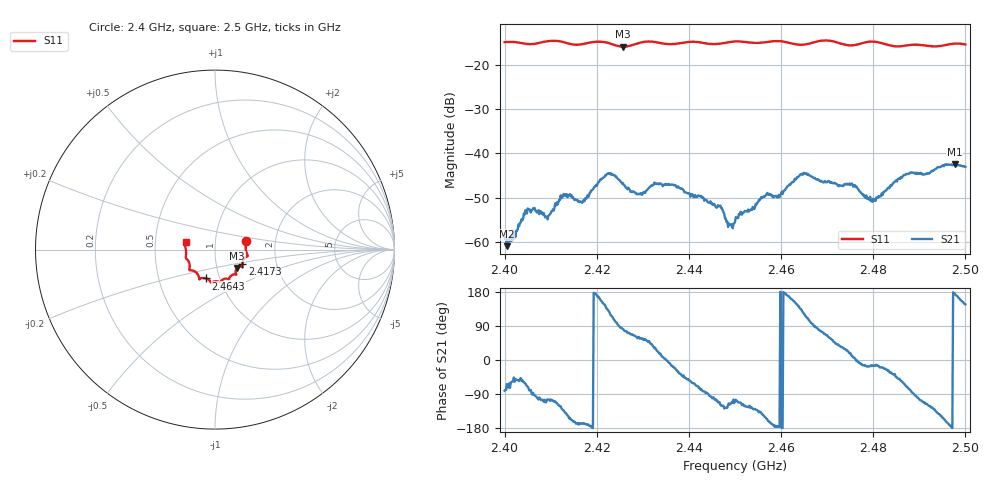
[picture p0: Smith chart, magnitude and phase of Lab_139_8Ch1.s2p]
# Hz S RI R 50
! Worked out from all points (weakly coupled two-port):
!   601 points, 2.4 GHz to 2.5 GHz, reference 50 ohm
!   highest |S21| = -42.43 dB at 2.4977 GHz (marker M1); lowest = -61.0 dB at 2.4005 GHz (marker M2)
!   lowest |S11| = -15.9 dB at 2.4257 GHz (marker M3), VSWR 1.38, Z = 62.5 - j13.1 ohm
!   |S11| at or under -10 dB: start of sweep to end of sweep
!   S12 and S22 are empty: the file has one direction only
!   S11 on the Smith chart (normalised r, x): 2.4 GHz: 1.41, +0.14; 2.4173 GHz: 1.34, -0.23; 2.4643 GHz: 0.86, -0.28; 2.5 GHz: 0.72, +0.06
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2.4e9  0.1732 0.049  0.000174 -0.00111  0 0  0 0
2.4005e9  0.1749 0.0468  0.0004 -0.000802  0 0  0 0
2.405e9  0.1709 0.0139  0.000801 -0.00224  0 0  0 0
2.409167e9  0.1818 -0.0303  -0.00051 -0.00186  0 0  0 0
2.412667e9  0.1764 -0.0396  -0.00224 -0.00248  0 0  0 0
2.416667e9  0.1529 -0.0745  -0.00275 -0.000649  0 0  0 0
2.417333e9  0.1519 -0.082  -0.00282 -0.000565  0 0  0 0
2.4225e9  0.1489 -0.0944  -0.00387 0.00456  0 0  0 0
2.425667e9  0.1229 -0.1022  0.000661 0.00459  0 0  0 0
2.429333e9  0.1162 -0.1336  0.00194 0.00293  0 0  0 0
2.433333e9  0.1126 -0.1375  0.00425 0.00159  0 0  0 0
2.442667e9  0.0717 -0.163  0.000761 -0.00322  0 0  0 0
2.449e9  0.0316 -0.1778  -0.000695 -0.00141  0 0  0 0
2.45e9  0.0289 -0.1812  -0.000492 -0.00159  0 0  0 0
2.464333e9  -0.0499 -0.1604  -0.00406 0.0042  0 0  0 0
2.466667e9  -0.0758 -0.1591  -0.00059 0.00539  0 0  0 0
2.4755e9  -0.1115 -0.1224  0.00437 0.0008  0 0  0 0
2.48e9  -0.1433 -0.113  0.00298 -0.000789  0 0  0 0
2.483333e9  -0.1408 -0.0897  0.00362 -0.00191  0 0  0 0
2.4875e9  -0.1574 -0.0527  0.00177 -0.00558  0 0  0 0
2.497667e9  -0.1706 0.0309  -0.00754 0.000599  0 0  0 0
2.5e9  -0.164 0.0428  -0.00587 0.00386  0 0  0 0
